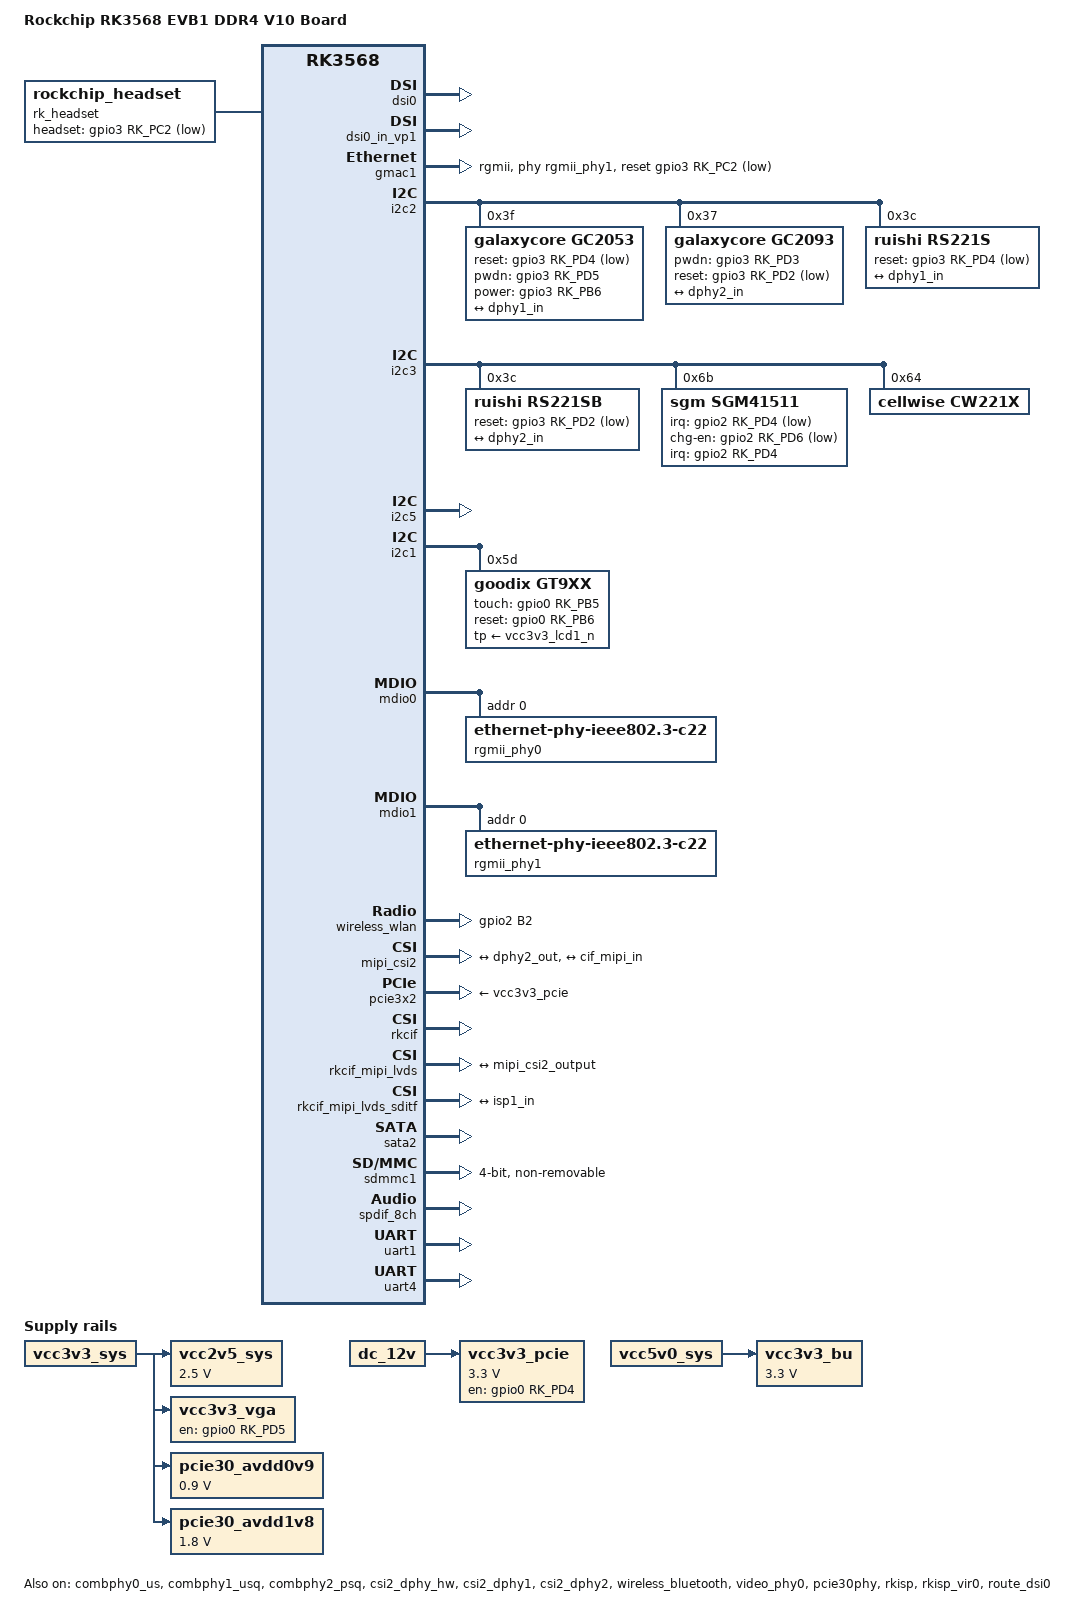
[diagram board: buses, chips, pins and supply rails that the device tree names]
// SPDX-License-Identifier: (GPL-2.0+ OR MIT)
/*
 * Copyright (c) 2020 Rockchip Electronics Co., Ltd.
 *
 */

/dts-v1/;

#include <dt-bindings/gpio/gpio.h>
#include <dt-bindings/pinctrl/rockchip.h>
#include "rk3568.dtsi"
#include "rk3568-evb.dtsi"
#define RS_CAMERA 1
#define CLOSE_IOMMU 0

/ {
	model = "Rockchip RK3568 EVB1 DDR4 V10 Board";
	compatible = "rockchip,rk3568-evb1-ddr4-v10", "rockchip,rk3568";

	rk_headset: rk-headset {
		compatible = "rockchip_headset";
		headset_gpio = <&gpio3 RK_PC2 GPIO_ACTIVE_LOW>;
		pinctrl-names = "default";
		pinctrl-0 = <&hp_det>;
	};

	vcc2v5_sys: vcc2v5-ddr {
		compatible = "regulator-fixed";
		regulator-name = "vcc2v5-sys";
		regulator-always-on;
		regulator-boot-on;
		regulator-min-microvolt = <2500000>;
		regulator-max-microvolt = <2500000>;
		vin-supply = <&vcc3v3_sys>;
	};

	vcc3v3_vga: vcc3v3-vga {
		compatible = "regulator-fixed";
		regulator-name = "vcc3v3_vga";
		regulator-always-on;
		regulator-boot-on;
		gpio = <&gpio0 RK_PD5 GPIO_ACTIVE_HIGH>;
		enable-active-high;
		vin-supply = <&vcc3v3_sys>;
	};

	pcie30_avdd0v9: pcie30-avdd0v9 {
		compatible = "regulator-fixed";
		regulator-name = "pcie30_avdd0v9";
		regulator-always-on;
		regulator-boot-on;
		regulator-min-microvolt = <900000>;
		regulator-max-microvolt = <900000>;
		vin-supply = <&vcc3v3_sys>;
	};

	pcie30_avdd1v8: pcie30-avdd1v8 {
		compatible = "regulator-fixed";
		regulator-name = "pcie30_avdd1v8";
		regulator-always-on;
		regulator-boot-on;
		regulator-min-microvolt = <1800000>;
		regulator-max-microvolt = <1800000>;
		vin-supply = <&vcc3v3_sys>;
	};

	vcc3v3_pcie: gpio-regulator {
		compatible = "regulator-fixed";
		regulator-name = "vcc3v3_pcie";
		regulator-min-microvolt = <3300000>;
		regulator-max-microvolt = <3300000>;
		enable-active-high;
		gpio = <&gpio0 RK_PD4 GPIO_ACTIVE_HIGH>;
		startup-delay-us = <5000>;
		vin-supply = <&dc_12v>;
	};

	vcc3v3_bu: vcc3v3-bu {
		compatible = "regulator-fixed";
		regulator-name = "vcc3v3_bu";
		regulator-always-on;
		regulator-boot-on;
		regulator-min-microvolt = <3300000>;
		regulator-max-microvolt = <3300000>;
		vin-supply = <&vcc5v0_sys>;
	};

		/*
	vcc_camera: vcc-camera-regulator {
		compatible = "regulator-fixed";
		gpio = <&gpio4 RK_PB1 GPIO_ACTIVE_HIGH>;
		pinctrl-names = "default";
		pinctrl-0 = <&camera_pwr>;
		regulator-name = "vcc_camera";
		enable-active-high;
		regulator-always-on;
		regulator-boot-on;
	};
	*/
};

&combphy0_us {
	status = "okay";
};

&combphy1_usq {
	status = "okay";
};

&combphy2_psq {
	status = "okay";
};

&csi2_dphy_hw {
	status = "okay";
};

&csi2_dphy0 {
	status = "disabled";
	/*
	 * dphy0 only used for full mode,
	 * full mode and split mode are mutually exclusive
	 */
	ports {
		#address-cells = <1>;
		#size-cells = <0>;

		port@0 {
			reg = <0>;
			#address-cells = <1>;
			#size-cells = <0>;

			dphy0_in: endpoint@1 {
				reg = <1>;
				remote-endpoint = <&gc2053_out>;
				data-lanes = <1 2 3 4>;
			};
		};

		port@1 {
			reg = <1>;
			#address-cells = <1>;
			#size-cells = <0>;

			dphy0_out: endpoint@1 {
				reg = <1>;
				remote-endpoint = <&isp0_in>;
			};
		};
	};
};

&csi2_dphy1 {
	status = "okay";

	/*
	 * dphy1 only used for split mode,
	 * can be used  concurrently  with dphy2
	 * full mode and split mode are mutually exclusive
	 */
	ports {
		#address-cells = <1>;
		#size-cells = <0>;
		port@0 {
			reg = <0>;
			#address-cells = <1>;
			#size-cells = <0>;

			dphy1_in: endpoint@1 {
				reg = <1>;
#if RS_CAMERA
				remote-endpoint = <&rs221s_out>;
#else
				remote-endpoint = <&gc2053_out>;
#endif
				data-lanes = <1 2>;
			};
		};

		port@1 {
			reg = <1>;
			#address-cells = <1>;
			#size-cells = <0>;

			dphy1_out: endpoint@1 {
				reg = <1>;
				remote-endpoint = <&isp0_in>;
			};
		};
	};
};

&csi2_dphy2 {
	status = "okay";

	/*
	 * dphy2 only used for split mode,
	 * can be used  concurrently  with dphy1
	 * full mode and split mode are mutually exclusive
	 */
	ports {
		#address-cells = <1>;
		#size-cells = <0>;

		port@0 {
			reg = <0>;
			#address-cells = <1>;
			#size-cells = <0>;

			dphy2_in: endpoint@1 {
				reg = <1>;
#if RS_CAMERA
				remote-endpoint = <&rs221sB_out>;
#else
				remote-endpoint = <&gc2093_out>;
#endif
				data-lanes = <1 2>;
			};
		};
		port@1 {
			reg = <1>;
			#address-cells = <1>;
			#size-cells = <0>;

			dphy2_out: endpoint@1 {
				reg = <1>;
				remote-endpoint = <&mipi_csi2_input>;
			};
		};
	};
};

/*
 * video_phy0 needs to be enabled
 * when dsi0 is enabled
 */
&dsi0 {
	status = "okay";
};

&dsi0_in_vp0 {
	status = "disabled";
};

&dsi0_in_vp1 {
	status = "okay";
};

&dsi0_panel {
	power-supply = <&vcc3v3_lcd0_n>;
	reset-gpios = <&gpio3 RK_PD1 GPIO_ACTIVE_LOW>;
	pinctrl-names = "default";
	pinctrl-0 = <&lcd0_rst_gpio>;
	
};

/*
 * video_phy1 needs to be enabled
 * when dsi1 is enabled
 */
&dsi1 {
	status = "disabled";
};

&dsi1_in_vp0 {
	status = "disabled";
};

&dsi1_in_vp1 {
	status = "disabled";
};

&dsi1_panel {
	power-supply = <&vcc3v3_lcd1_n>;
};

&edp {
	hpd-gpios = <&gpio0 RK_PC2 GPIO_ACTIVE_HIGH>;
	status = "disabled";
};

&edp_phy {
	status = "disabled";
};

&edp_in_vp0 {
	status = "disabled";
};

&edp_in_vp1 {
	status = "disabled";
};

&gmac0 {
	phy-mode = "rgmii";
	clock_in_out = "output";

	snps,reset-gpio = <&gpio2 RK_PD3 GPIO_ACTIVE_LOW>;
	snps,reset-active-low;
	/* Reset time is 20ms, 100ms for rtl8211f */
	snps,reset-delays-us = <0 20000 100000>;

	assigned-clocks = <&cru SCLK_GMAC0_RX_TX>, <&cru SCLK_GMAC0>;
	assigned-clock-parents = <&cru SCLK_GMAC0_RGMII_SPEED>, <&cru CLK_MAC0_2TOP>;
	assigned-clock-rates = <0>, <125000000>;

	pinctrl-names = "default";
	pinctrl-0 = <&gmac0_miim
		     &gmac0_tx_bus2
		     &gmac0_rx_bus2
		     &gmac0_rgmii_clk
		     &gmac0_rgmii_bus>;

	tx_delay = <0x3c>;
	rx_delay = <0x2f>;

	phy-handle = <&rgmii_phy0>;
	status = "disabled";
};

&gmac1 {
	phy-mode = "rgmii";
	clock_in_out = "input";

	snps,reset-gpio = <&gpio3 RK_PC2 GPIO_ACTIVE_LOW>;
	snps,reset-active-low;
	/* Reset time is 20ms, 100ms for rtl8211f */
	snps,reset-delays-us = <0 20000 100000>;

	assigned-clocks = <&cru SCLK_GMAC1_RX_TX>, <&cru SCLK_GMAC1>;
/*
	assigned-clock-parents = <&cru SCLK_GMAC1_RGMII_SPEED>;
	assigned-clock-rates = <0>, <125000000>;
*/
	assigned-clock-parents = <&cru SCLK_GMAC1_RGMII_SPEED>, <&gmac1_clkin>;
	pinctrl-names = "default";
	pinctrl-0 = <&gmac1m1_miim
		     &gmac1m1_tx_bus2
		     &gmac1m1_rx_bus2
		     &gmac1m1_rgmii_clk
   		     &gmac1m1_rgmii_bus
		     &gmac1m1_clkinout>;

	tx_delay = <0x4f>;
	rx_delay = <0x25>;

	phy-handle = <&rgmii_phy1>;
	status = "okay";
};

&i2c2 {
	status = "okay";
	pinctrl-0 = <&i2c2m1_xfer>;

	/* split mode: lane:0/1 */
	
		gc2053: gc2053@3f {
		compatible = "galaxycore,gc2053";
		reg = <0x3f>;
		status = "okay";
	
		clocks = <&cru CLK_CIF_OUT>;
		clock-names = "xvclk";
		power-domains = <&power RK3568_PD_VI>;
		pinctrl-names = "default";
		pinctrl-0 = <&cif_clk>;
		reset-gpios = <&gpio3 RK_PD4 GPIO_ACTIVE_LOW>;
		pwdn-gpios = <&gpio3 RK_PD5 GPIO_ACTIVE_HIGH>; 
		power-gpios = <&gpio3 RK_PB6 GPIO_ACTIVE_HIGH>; 

	
		rockchip,camera-module-index = <0>;
		rockchip,camera-module-facing = "front";
		rockchip,camera-module-name = "YT-RV1109-2-V1";
		rockchip,camera-module-lens-name = "40IR-2MP-F20";
		port {
			gc2053_out: endpoint {
				remote-endpoint = <&dphy1_in>;
				data-lanes = <1 2>;
			};
		};
	};
	


	/* split mode: lane:2/3 */
	gc2093: gc2093@37 {
		compatible = "galaxycore,gc2093";
		reg = <0x37>;
		status = "okay";
		power-domains = <&power RK3568_PD_VI>;
		clocks = <&pmucru CLK_WIFI>;
		clock-names = "xvclk";
	
		pinctrl-names = "default";
		pinctrl-0 = <&refclk_pins>;	
			
		/*	avdd-supply = <&vcc_avdd>;
		dovdd-supply = <&vcc_dovdd>;
		dvdd-supply = <&vcc_dvdd>;
	*/	
        	pwdn-gpios = <&gpio3 RK_PD3 GPIO_ACTIVE_HIGH>;
		reset-gpios = <&gpio3 RK_PD2 GPIO_ACTIVE_LOW>;				
		rockchip,camera-module-index = <1>;
		rockchip,camera-module-facing = "back";
		rockchip,camera-module-name = "YT-RV1109-2-V1";
		rockchip,camera-module-lens-name = "40IR-2MP-F20";
		port {
			gc2093_out: endpoint {
				remote-endpoint = <&dphy2_in>;
				data-lanes = <1 2>;
			};
		};
	};
	
	rs221s: rs221s@3c {
		status = "okay";
		compatible = "ruishi,rs221s";
		reg = <0x3c>;
		clocks = <&cru CLK_CIF_OUT>;
		clock-names = "xvclk";
		power-domains = <&power RK3568_PD_VI>;
		pinctrl-names = "default";
		pinctrl-0 = <&cif_clk>;
		reset-gpios = <&gpio3 RK_PD4 GPIO_ACTIVE_LOW>;
	/*	pwdn-gpios = <&gpio4 RK_PB2 GPIO_ACTIVE_HIGH>; */
		/*power-gpios = <&gpio0 RK_PC1 GPIO_ACTIVE_HIGH>;*/
	
		rockchip,camera-module-index = <0>;
		rockchip,camera-module-facing = "front";
		rockchip,camera-module-name = "ruishi";
		rockchip,camera-module-lens-name = "RS221S";
		port {
			rs221s_out: endpoint {
				remote-endpoint = <&dphy1_in>;
				data-lanes = <1 2>;
			};
		};
	};
};


&i2c3 {
	status = "okay";
	pinctrl-0 = <&i2c3m0_xfer>;
	
	rs221sB: rs221sB@3c {
		status = "okay";
		compatible = "ruishi,rs221sB";
		reg = <0x3c>;
		clocks = <&pmucru CLK_WIFI>;
		clock-names = "xvclk";
	
		pinctrl-names = "default";
		pinctrl-0 = <&refclk_pins>;
	/*	pwdn-gpios = <&gpio3 RK_PD3 GPIO_ACTIVE_HIGH>;*/
		reset-gpios = <&gpio3 RK_PD2 GPIO_ACTIVE_LOW>;	
		power-domains = <&power RK3568_PD_VI>;
		rockchip,camera-module-index = <1>;
		rockchip,camera-module-facing = "back";
		rockchip,camera-module-name = "ruishi";
		rockchip,camera-module-lens-name = "RS221S";
		port {
			rs221sB_out: endpoint {
				remote-endpoint = <&dphy2_in>;
				data-lanes = <1 2>;
			};
		};
	};
    //lgh add battery SGM41511\

       sgm41511: sgm41511@6b {
		status = "okay";
		compatible = "sgm,sgm41511";
		reg = <0x6b>;
		//clocks = <&pmucru CLK_WIFI>;
		//clock-names = "xvclk";
		interrupt-parent = <&gpio2>;
		interrupts = <RK_PD4 IRQ_TYPE_LEVEL_LOW>;

		sgm,irq-gpio = <&gpio2 RK_PD4 GPIO_ACTIVE_LOW>; //lgh modify start
	 	sgm,chg-en-gpio = <&gpio2 RK_PD6 GPIO_ACTIVE_LOW>;
		input-voltage-limit-microvolt = <4500000>;//uv
		input-current-limit-microamp = <2040000>;//ua   //lgh modify end


		

	};
	//lgh add cw211x
	cw221X@64 { 
		status = "okay";
		compatible = "cellwise,cw221X";
		reg = <0x64>;
	};
       //lgh add end 2023-2-16
};

//lgh add RTC aip8563 2023-6-9 
&i2c5 {
	status = "okay";
	hym8563:hym8563@51{
		status = "okey";
		compatible = "haoyu,hym8563";
		reg =<0x51>;
		pinctrl-names = "default";
		pinctrl-0 = <&rtc_int>;


		interrupt-parent = <&gpio0>;
		interrupts = <RK_PD3 IRQ_TYPE_LEVEL_LOW>;

	};
};

&i2c1 {

	status = "okay";
	gt9xx: gt9xx@5d {
		status = "disabled";
		compatible = "goodix,gt9xx";
		reg = <0x5d>;
		pinctrl-names = "default";
		pinctrl-0 = <&touch_ctrl>;
		
		touch-gpio = <&gpio0 RK_PB5 IRQ_TYPE_EDGE_RISING>;
		reset-gpio = <&gpio0 RK_PB6 GPIO_ACTIVE_HIGH>;
		max-x = <720>;
		max-y = <1280>;

	tp-size = <0>;
	

	};	
	
};



&gt9xx {
 tp-supply = <&vcc3v3_lcd1_n>;
  status = "okay";
};





&mdio0 {
	rgmii_phy0: phy@0 {
		compatible = "ethernet-phy-ieee802.3-c22";
		reg = <0x0>;
	};
};

&mdio1 {
	rgmii_phy1: phy@0 {
		compatible = "ethernet-phy-ieee802.3-c22";
		reg = <0x0>;
	};
};

&wireless_wlan {
	pinctrl-names = "default";
	pinctrl-0 = <&wifi_host_wake_irq>;
	WIFI,host_wake_irq = <&gpio2 RK_PB2 GPIO_ACTIVE_HIGH>;
};

&wireless_bluetooth {
	compatible = "bluetooth-platdata";
	clocks = <&rk809 1>;
	clock-names = "ext_clock";
//	wifi-bt-power-toggle;
	uart_rts_gpios = <&gpio2 RK_PB5 GPIO_ACTIVE_LOW>;
	pinctrl-names = "default", "rts_gpio";
	pinctrl-0 = <&uart1m0_rtsn>;
	pinctrl-1 = <&uart1_gpios>;
	pinctrl-2 = <&bt_gpios>;
	BT,reset_gpio    = <&gpio2 RK_PB7 GPIO_ACTIVE_HIGH>;
	BT,wake_gpio     = <&gpio2 RK_PC1 GPIO_ACTIVE_HIGH>;
	BT,wake_host_irq = <&gpio2 RK_PC0 GPIO_ACTIVE_HIGH>;
	status = "okay";
};

/*
 * power-supply should switche to vcc3v3_lcd1_n
 * when mipi panel is connected to dsi1.
 */

&mipi_csi2 {
	status = "okay";

	ports {
		#address-cells = <1>;
		#size-cells = <0>;

		port@0 {
			reg = <0>;
			#address-cells = <1>;
			#size-cells = <0>;

			mipi_csi2_input: endpoint@1 {
				reg = <1>;
				remote-endpoint = <&dphy2_out>;
				data-lanes = <1 2>;
			};
		};

		port@1 {
			reg = <1>;
			#address-cells = <1>;
			#size-cells = <0>;

			mipi_csi2_output: endpoint@0 {
				reg = <0>;
				remote-endpoint = <&cif_mipi_in>;
				data-lanes = <1 2>;
			};
		};
	};
};

&video_phy0 {
	status = "okay";
};

&video_phy1 {
	status = "disabled";
};

&pcie30phy {
	status = "okay";
};

&pcie3x2 {
	/*reset-gpios = <&gpio2 RK_PD6 GPIO_ACTIVE_HIGH>;*/ //lgh modify used for sgm41511 CE
	vpcie3v3-supply = <&vcc3v3_pcie>;
	status = "okay";
};

&pinctrl {
	/*
	cam {
		camera_pwr: camera-pwr {
			rockchip,pins =
			
				<4 RK_PB1 RK_FUNC_GPIO &pcfg_pull_none>;
		};
	};
*/

	headphone {
		hp_det: hp-det {
			rockchip,pins = <3 RK_PC2 RK_FUNC_GPIO &pcfg_pull_down>;
		};
	};

	touch-ctrl {
		touch_ctrl: touch_ctrl {
			rockchip,pins = <4 RK_PC6 RK_FUNC_GPIO &pcfg_pull_up>,
			<4 RK_PC5 RK_FUNC_GPIO &pcfg_pull_none>;
		};
	};

	wireless-wlan {
		wifi_host_wake_irq: wifi-host-wake-irq {
			rockchip,pins = <2 RK_PB2 RK_FUNC_GPIO &pcfg_pull_down>;
		};
	};

	wireless-bluetooth {
		uart1_gpios: uart1-gpios {
			rockchip,pins = <2 RK_PB5 RK_FUNC_GPIO &pcfg_pull_none>;
		};

	bt_gpios: bt-gpios {
			rockchip,pins = <2 RK_PB7 RK_FUNC_GPIO &pcfg_pull_none>,
			 <2 RK_PC1 RK_FUNC_GPIO &pcfg_pull_none>,
			 <2 RK_PC0 RK_FUNC_GPIO &pcfg_pull_none>;
		};
	};

	lcd0 {
		lcd0_rst_gpio: lcd0-rst-gpio {
			rockchip,pins = <3 RK_PD1 RK_FUNC_GPIO &pcfg_pull_none>;
		};
	};

	lcd1 {
		lcd1_rst_gpio: lcd1-rst-gpio {
			rockchip,pins = <4 RK_PB2 RK_FUNC_GPIO &pcfg_pull_none>;
		};
	};
	//lgh add 2023-6-21
	rtc{
		rtc_int: rtc-int{
			rockchip,pins =<0 RK_PD3 RK_FUNC_GPIO &pcfg_pull_up>;
		};
	};
};

&rkcif {
	status = "okay";
#if CLOSE_IOMMU	
	memory-region = <&cif_reserved>;
#endif
};



&rkcif_mipi_lvds {
	status = "okay";

	port {
		cif_mipi_in: endpoint {
			remote-endpoint = <&mipi_csi2_output>;
			data-lanes = <1 2>;
		};
	};
};

#if 1
&rkcif_mipi_lvds_sditf {
	status = "okay";

	port {
		mipi_lvds_sditf: endpoint {
			remote-endpoint = <&isp1_in>;
			data-lanes = <1 2>;
		 };
	};
};
#endif

#if CLOSE_IOMMU

&rkcif_mmu {
	status = "disabled";
};

&rkisp_mmu {
	status = "disabled";
};


#else

&rkcif_mmu {
	status = "okay";
};

&rkisp_mmu {
	status = "okay";
};

#endif

&rkisp {
	status = "okay";
	/* the max input w h and fps of mulit sensor */
	max-input = <1920 1080 30>;
#if CLOSE_IOMMU
	memory-region = <&cif_reserved>;
#endif

};

&rkisp_vir0 {
	status = "okay";
	/* ov5695->dphy1->isp_vir0 */
	port {
		#address-cells = <1>;
		#size-cells = <0>;

		isp0_in: endpoint@0 {
			reg = <0>;
			remote-endpoint = <&dphy1_out>;
		};
	};
};
#if 1
&rkisp_vir1 {
	status = "disabled";
	/* gc5025 or ov8858->dphy2->csi2->vicap */
	/* vicap sditf->isp_vir1 */
	port {
		#address-cells = <1>;
		#size-cells = <0>;

		isp1_in: endpoint@0 {
			reg = <0>;
			remote-endpoint = <&mipi_lvds_sditf>;
		};
	};
};
#endif
#if CLOSE_IOMMU

&reserved_memory { 
	cif_reserved: vicap@80000000 { 
	compatible = "shared-dma-pool";
	inactive;
	reusable;
	reg = <0x0 0x10000000 0x0 8000000>; //1G ~ 1G+256MB 
	//reg = <0x0 0x60000000 0x0 0x8000000>; //1.5G ~ 1.5G+128MB 
	}; 
};

#endif
&route_dsi0 {
	status = "okay";
	connect = <&vp1_out_dsi0>;
};

&sata2 {
	status = "okay";
};

&sdmmc2 {
	status = "disabled";
};

&sdmmc1 {
	max-frequency = <150000000>;
	supports-sdio;
	bus-width = <4>;
	disable-wp;
	cap-sd-highspeed;
	cap-sdio-irq;
	keep-power-in-suspend;
	mmc-pwrseq = <&sdio_pwrseq>;
	non-removable;
	pinctrl-names = "default";
	pinctrl-0 = <&sdmmc1_bus4 &sdmmc1_cmd &sdmmc1_clk>;
	sd-uhs-sdr104;
	status = "okay";
};

&sdio_pwrseq {
	reset-gpios = <&gpio2 RK_PB1 GPIO_ACTIVE_LOW>;
};

&spdif_8ch {
	status = "okay";
	pinctrl-names = "default";
	pinctrl-0 = <&spdifm1_tx>;
};

&uart1 {
	status = "okay";
	pinctrl-names = "default";
	pinctrl-0 = <&uart1m0_xfer &uart1m0_ctsn>;
};

&uart4 {
	status = "okay";
	pinctrl-names = "default";
	pinctrl-0 = <&uart4m1_xfer>;
};

&uart5 {
	status = "disabled";

};

&uart6 {
	status = "disabled";
	pinctrl-names = "default";
	pinctrl-0 = <&uart6m1_xfer>;
};

&vcc3v3_lcd0_n {
	gpio = <&gpio0 RK_PC7 GPIO_ACTIVE_HIGH>;
	enable-active-high;
};

&vcc3v3_lcd1_n {
	//gpio = <&gpio0 RK_PC5 GPIO_ACTIVE_HIGH>; lgh
	enable-active-high;
};
